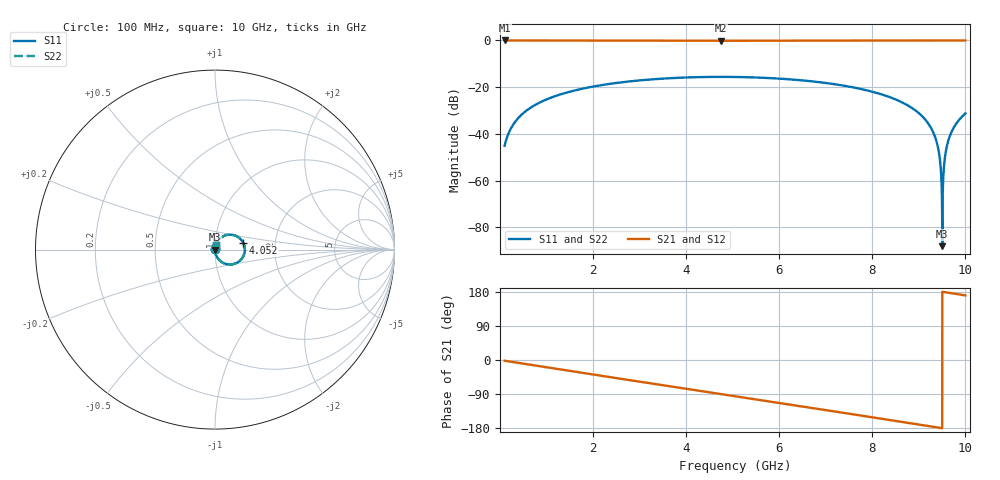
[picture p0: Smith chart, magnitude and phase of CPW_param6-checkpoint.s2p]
! Sonnet Data File
! From: em Version : 19.52.2025
! From Project: CPW
! Data is De-embedded
! Data File Written: 02/24/2026 12:47:39
!< HDATE 02/24/2026 12:38:38
!< MDATE 02/24/2026 12:38:38
!< PARAMS
!< Lk = 1
!< END PARAMS
# GHZ S MA R 50.00000
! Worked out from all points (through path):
!   4951 points, 100 MHz to 10 GHz, reference 50 ohm
!   highest |S21| = 0.00 dB at 100 MHz (marker M1); lowest = -0.1 dB at 4.756 GHz (marker M2)
!   group delay of S21, straight-line fit = 52.4 ps
!   lowest |S11| = -88.0 dB at 9.504 GHz (marker M3), VSWR 1.00, Z = 50 + j0.00281 ohm
!   |S11| at or under -10 dB: start of sweep to end of sweep
!   |S22| runs from -89.2 to -15.6 dB; largest |S21 - S12| = 6.2e-13
!   S11 on the Smith chart (normalised r, x): 100 MHz: 1.00, +0.01; 4.052 GHz: 1.37, +0.10; 10 GHz: 1.01, +0.05
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0.1  0.00558 88.1  1 -1.9  1 -1.9  0.00558 88.1
0.3  0.01672 84.2  0.9999 -5.8  0.9999 -5.8  0.01672 84.2
0.604  0.03348 78.4  0.9994 -11.6  0.9994 -11.6  0.03348 78.4
1.75  0.09194 56.5  0.9957 -33.5  0.9957 -33.5  0.09194 56.5
3.4  0.1505 25.3  0.9886 -64.7  0.9886 -64.7  0.1505 25.3
4.052  0.1621 13.1  0.9867 -76.9  0.9867 -76.9  0.1621 13.1
4.756  0.1664 -0.1  0.986 -90.1  0.986 -90.1  0.1664 -0.1
5.05  0.1656 -5.6  0.9861 -95.6  0.9861 -95.6  0.1656 -5.6
6.7  0.1336 -36.5  0.9909 -126.5  0.9909 -126.5  0.1336 -36.5
8.35  0.06259 -67.8  0.9979 -157.9  0.9979 -157.9  0.06259 -67.9
8.882  0.03435 -78.0  0.9993 -168.1  0.9993 -168.1  0.03435 -78.0
9.22  0.01576 -84.4  0.9997 -174.6  0.9997 -174.6  0.01576 -84.5
9.392  0.006206 -87.6  0.9998 -177.9  0.9998 -177.9  0.006206 -87.7
9.436  0.003758 -88.3  0.9998 -178.7  0.9998 -178.7  0.003758 -88.4
9.472  0.001754 -88.5  0.9999 -179.4  0.9999 -179.4  0.001754 -88.7
9.504  3.986e-05 44.8  0.9999 180.0  0.9999 180.0  3.448e-05 54.6
9.538  0.001921 88.5  0.9999 179.3  0.9999 179.3  0.001921 88.8
9.564  0.003368 88.4  0.9998 178.8  0.9998 178.8  0.003368 88.5
9.588  0.004704 88.0  0.9998 178.4  0.9998 178.4  0.004704 88.2
9.662  0.00882 86.8  0.9998 177.0  0.9998 177.0  0.00882 86.8
9.804  0.0167 84.1  0.9997 174.2  0.9997 174.2  0.0167 84.2
10  0.0275 80.4  0.9995 170.5  0.9995 170.5  0.0275 80.4
